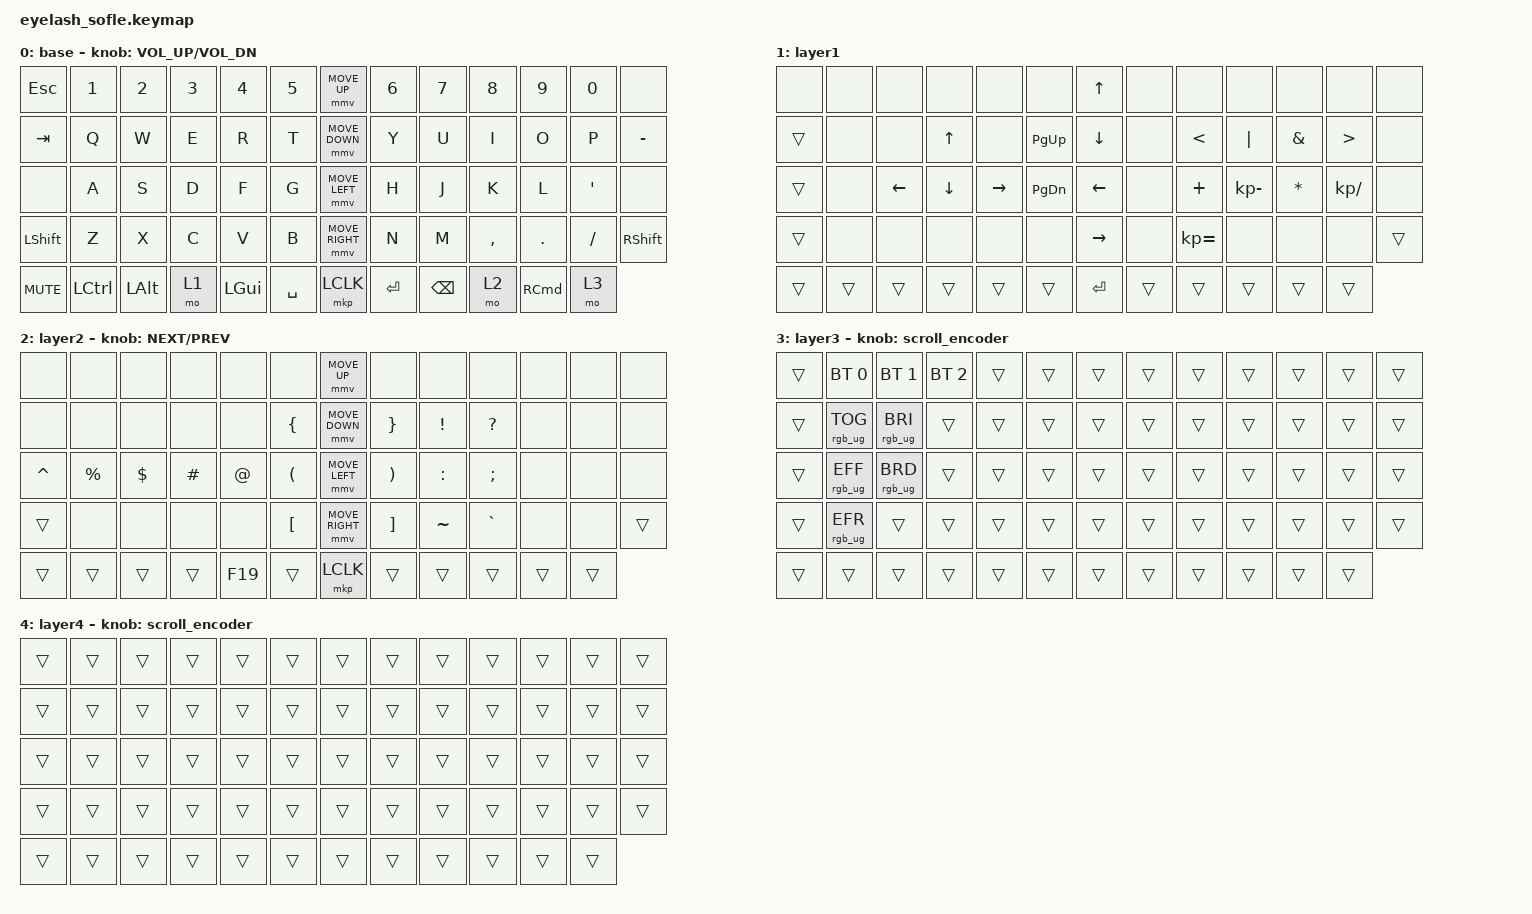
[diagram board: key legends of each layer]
#define ZMK_POINTING_DEFAULT_MOVE_VAL 1200  // 600
#define ZMK_POINTING_DEFAULT_SCRL_VAL 25   // 10

#include <input/processors.dtsi>
#include <zephyr/dt-bindings/input/input-event-codes.h>
#include <behaviors.dtsi>
#include <dt-bindings/zmk/bt.h>
#include <dt-bindings/zmk/keys.h>
#include <dt-bindings/zmk/pointing.h>
#include <dt-bindings/zmk/rgb.h>

&mmv_input_listener { input-processors = <&zip_xy_scaler 2 1>; };

&msc_input_listener { input-processors = <&zip_scroll_scaler 2 1>; };

&msc {
    acceleration-exponent = <1>;      // 0
    time-to-max-speed-ms = <100>;       // 300
    delay-ms = <0>;                   // 0
};

&mmv {
    time-to-max-speed-ms = <500>;
    acceleration-exponent = <1>;
    trigger-period-ms = <16>;
};

&soft_off { hold-time-ms = <2000>; };

/ {
    scroll_encoder: scroll_encoder {
        compatible = "zmk,behavior-sensor-rotate";
        #sensor-binding-cells = <0>;
        bindings = <&msc SCRL_DOWN>, <&msc SCRL_UP>;

        tap-ms = <100>;
    };

    behaviors {
    };

    combos { compatible = "zmk,combos"; };

    keymap {
        compatible = "zmk,keymap";

        layer0 {
            bindings = <
&kp ESC     &kp N1     &kp N2        &kp N3  &kp N4        &kp N5       &mmv MOVE_UP     &kp N6     &kp N7         &kp N8     &kp N9             &kp N0    &none
&kp TAB     &kp Q      &kp W         &kp E   &kp R         &kp T        &mmv MOVE_DOWN   &kp Y      &kp U          &kp I      &kp O              &kp P     &kp MINUS
&none       &kp A      &kp S         &kp D   &kp F         &kp G        &mmv MOVE_LEFT   &kp H      &kp J          &kp K      &kp L              &kp APOS  &none
&kp LSHFT   &kp Z      &kp X         &kp C   &kp V         &kp B        &mmv MOVE_RIGHT  &kp N      &kp M          &kp COMMA  &kp DOT            &kp FSLH  &kp RIGHT_SHIFT
&kp C_MUTE  &kp LCTRL  &kp LEFT_ALT  &mo 1   &kp LEFT_GUI  &kp SPACE    &mkp LCLK        &kp ENTER  &kp BACKSPACE  &mo 2      &kp RIGHT_COMMAND  &mo 3
            >;

            sensor-bindings = <&inc_dec_kp C_VOLUME_UP C_VOL_DN>;
            display-name = "base";
        };

        layer_1 {
            bindings = <
&none   &none   &none           &none           &none            &none            &kp UP     &none   &none          &none         &none          &none             &none
&trans  &none   &none           &kp UP_ARROW    &none            &kp PG_UP        &kp DOWN   &none   &kp LESS_THAN  &kp PIPE      &kp AMPERSAND  &kp GREATER_THAN  &none
&trans  &none   &kp LEFT_ARROW  &kp DOWN_ARROW  &kp RIGHT_ARROW  &kp PAGE_DOWN    &kp LEFT   &none   &kp PLUS       &kp KP_MINUS  &kp STAR       &kp KP_SLASH      &none
&trans  &none   &none           &none           &none            &none            &kp RIGHT  &none   &kp KP_EQUAL   &none         &none          &none             &trans
&trans  &trans  &trans          &trans          &trans           &trans           &kp ENTER  &trans  &trans         &trans        &trans         &trans
            >;

            display-name = "layer1";
        };

        layer_2 {
            bindings = <
&none      &none        &none       &none     &none    &none                   &mmv MOVE_UP     &none                  &none            &none         &none   &none   &none
&none      &none        &none       &none     &none    &kp LEFT_BRACE          &mmv MOVE_DOWN   &kp RIGHT_BRACE        &kp EXCLAMATION  &kp QUESTION  &none   &none   &none
&kp CARET  &kp PERCENT  &kp DOLLAR  &kp HASH  &kp AT   &kp LEFT_PARENTHESIS    &mmv MOVE_LEFT   &kp RIGHT_PARENTHESIS  &kp COLON        &kp SEMI      &none   &none   &none
&trans     &none        &none       &none     &none    &kp LEFT_BRACKET        &mmv MOVE_RIGHT  &kp RIGHT_BRACKET      &kp TILDE        &kp GRAVE     &none   &none   &trans
&trans     &trans       &trans      &trans    &kp F19  &trans                  &mkp LCLK        &trans                 &trans           &trans        &trans  &trans
            >;

            display-name = "layer2";
            sensor-bindings = <&inc_dec_kp K_NEXT K_PREV>;
        };

        layer_3 {
            bindings = <
&trans  &bt BT_SEL 0     &bt BT_SEL 1     &bt BT_SEL 2  &trans  &trans    &trans  &trans  &trans  &trans  &trans  &trans  &trans
&trans  &rgb_ug RGB_TOG  &rgb_ug RGB_BRI  &trans        &trans  &trans    &trans  &trans  &trans  &trans  &trans  &trans  &trans
&trans  &rgb_ug RGB_EFF  &rgb_ug RGB_BRD  &trans        &trans  &trans    &trans  &trans  &trans  &trans  &trans  &trans  &trans
&trans  &rgb_ug RGB_EFR  &trans           &trans        &trans  &trans    &trans  &trans  &trans  &trans  &trans  &trans  &trans
&trans  &trans           &trans           &trans        &trans  &trans    &trans  &trans  &trans  &trans  &trans  &trans
            >;

            display-name = "layer3";
            sensor-bindings = <&scroll_encoder>;
        };

        layer_4 {
            bindings = <
&trans  &trans  &trans  &trans  &trans  &trans    &trans  &trans  &trans  &trans  &trans  &trans  &trans
&trans  &trans  &trans  &trans  &trans  &trans    &trans  &trans  &trans  &trans  &trans  &trans  &trans
&trans  &trans  &trans  &trans  &trans  &trans    &trans  &trans  &trans  &trans  &trans  &trans  &trans
&trans  &trans  &trans  &trans  &trans  &trans    &trans  &trans  &trans  &trans  &trans  &trans  &trans
&trans  &trans  &trans  &trans  &trans  &trans    &trans  &trans  &trans  &trans  &trans  &trans
            >;

            display-name = "layer4";
            sensor-bindings = <&scroll_encoder>;
        };
    };
};
